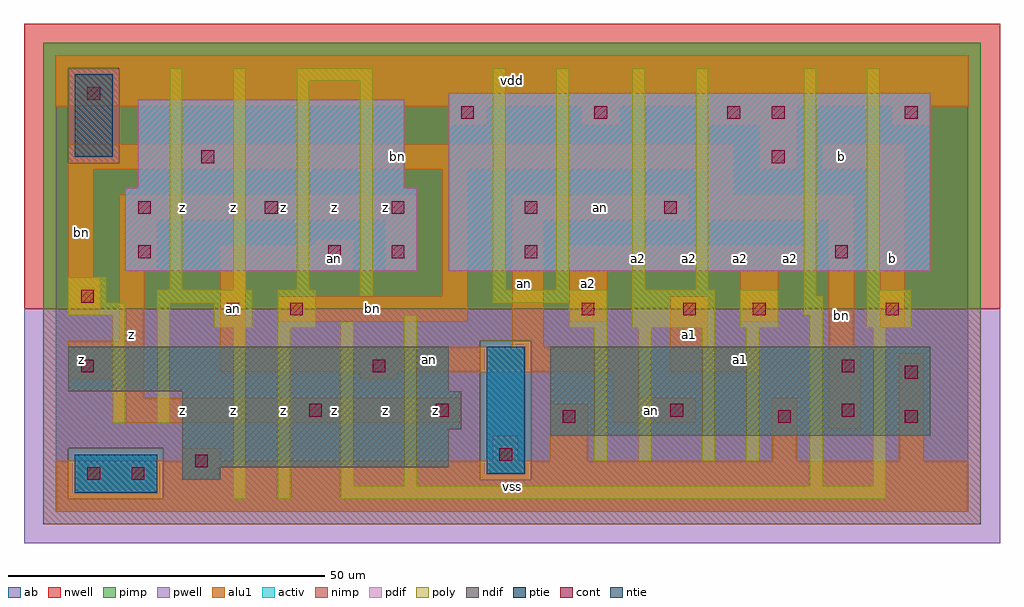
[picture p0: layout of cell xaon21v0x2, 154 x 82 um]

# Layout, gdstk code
import gdstk
lib = gdstk.Library(unit=1e-6, precision=1e-09)
def R(c, l, rs):  # rectangles x0, y0, x1, y1
    for r in rs: c.add(gdstk.rectangle(r[:2], r[2:], *l))
def A(c, l, x, y, w, h, nx, ny, dx, dy):  # array of equal rectangles
    R(c, l, [(x+i*dx, y+j*dy, x+i*dx+w, y+j*dy+h) for i in range(nx) for j in range(ny)])
ndif = (3, 0)
pdif = (4, 0)
ntie = (5, 0)
ptie = (6, 0)
cont = (25, 0)
pwell = (41, 0)
nwell = (42, 0)
activ = (43, 0)
pimp = (44, 0)
nimp = (45, 0)
poly = (46, 0)
alu1 = (49, 0)
ab = (63, 0)

xaon21v0x2 = lib.new_cell('xaon21v0x2')
R(xaon21v0x2, ndif, [(20,5,26,7), (20,7,62,13), (78,12,138,26), (20,13,64,19), (2,19,62,26)])
R(xaon21v0x2, pdif, [(11,38,57,51), (62,38,138,66), (13,51,55,65)])
R(xaon21v0x2, ntie, [(3,56,9,69)])
R(xaon21v0x2, ptie, [(3,3,16,9), (68,6,74,26)])
A(xaon21v0x2, cont, 13, 47, 2, 2, 3, 1, 20, 0)
A(xaon21v0x2, cont, 64, 62, 2, 2, 3, 1, 21, 0)
R(xaon21v0x2, cont, [(5,5,7,7), (12,5,14,7), (22,7,24,9), (70,8,72,10), (80,14,82,16), (114,14,116,16), (134,14,136,16), (40,15,42,17), (60,15,62,17), (97,15,99,17), (124,15,126,17), (134,21,136,23), (4,22,6,24), (50,22,52,24), (124,22,126,24), (27,31,29,33), (37,31,39,33), (83,31,85,33), (99,31,101,33), (110,31,112,33), (131,31,133,33), (4,33,6,35), (13,40,15,42), (43,40,45,42), (53,40,55,42), (74,40,76,42), (123,40,125,42), (74,47,76,49), (96,47,98,49), (23,55,25,57), (113,55,115,57), (113,62,115,64), (134,62,136,64), (5,65,7,67)])
R(xaon21v0x2, pwell, [(-5,-5,149,32)])
R(xaon21v0x2, nwell, [(-5,32,149,77)])
R(xaon21v0x2, activ, [(3,3,16,9), (20,5,26,7), (68,6,74,26), (20,7,62,13), (78,12,138,26), (20,13,64,19), (2,19,62,26), (11,38,57,51), (62,38,138,66), (13,51,55,65), (3,56,9,69)])
R(xaon21v0x2, pimp, [(2,2,17,10), (67,5,75,27), (-2,32,146,55), (-2,55,2,70), (10,55,146,70), (-2,70,146,74)])
R(xaon21v0x2, nimp, [(-2,-2,146,2), (-2,2,2,10), (17,2,146,5), (17,5,67,10), (75,5,146,27), (-2,10,67,27), (-2,27,146,32), (2,55,10,70)])
R(xaon21v0x2, poly, [(28,2,30,29), (35,2,37,29), (45,2,131,4), (45,4,47,30), (55,4,57,31), (119,4,121,31), (129,4,131,29), (85,8,87,29), (92,8,94,29), (102,8,104,29), (109,8,111,29), (9,14,11,31), (16,14,18,33), (25,29,31,33), (35,29,41,35), (81,29,87,33), (91,29,104,35), (108,29,114,35), (128,29,135,35), (2,31,11,33), (118,31,121,34), (2,33,8,37), (16,33,31,35), (69,33,87,35), (48,34,50,68), (118,34,120,70), (18,35,20,70), (28,35,30,70), (38,35,40,68), (69,35,71,70), (79,35,81,70), (91,35,93,70), (101,35,103,70), (128,35,130,70), (38,68,50,70)])
R(xaon21v0x2, alu1, [(0,0,144,8), (20,8,26,10), (69,8,73,12), (78,8,84,17), (113,8,117,18), (133,8,137,25), (122,13,127,26), (9,14,64,18), (88,14,101,18), (9,18,14,21), (88,18,92,22), (2,21,14,27), (48,21,54,22), (26,22,92,26), (97,22,111,26), (26,26,30,38), (72,26,77,46), (97,26,103,34), (122,26,126,46), (10,27,14,38), (130,29,134,54), (35,30,65,34), (81,30,87,38), (108,30,114,38), (2,31,7,37), (61,34,65,54), (2,37,6,54), (10,38,16,46), (26,38,47,42), (52,38,57,46), (81,38,119,42), (41,42,47,43), (10,46,57,50), (72,46,100,50), (103,46,126,50), (103,50,107,54), (2,54,107,58), (111,54,117,61), (121,54,134,58), (62,61,68,64), (83,61,89,64), (103,61,117,64), (132,61,138,64), (0,64,144,72)])
R(xaon21v0x2, ab, [(0,0,144,72)])
xaon21v0x2.add(gdstk.Label('an', (28,32), layer=49, texttype=0))
xaon21v0x2.add(gdstk.Label('bn', (4,44), layer=49, texttype=0))
xaon21v0x2.add(gdstk.Label('bn', (50,32), layer=49, texttype=0))
xaon21v0x2.add(gdstk.Label('an', (44,40), layer=49, texttype=0))
xaon21v0x2.add(gdstk.Label('an', (94,16), layer=49, texttype=0))
xaon21v0x2.add(gdstk.Label('an', (59,24), layer=49, texttype=0))
xaon21v0x2.add(gdstk.Label('an', (74,36), layer=49, texttype=0))
xaon21v0x2.add(gdstk.Label('an', (86,48), layer=49, texttype=0))
xaon21v0x2.add(gdstk.Label('bn', (124,31), layer=49, texttype=0))
xaon21v0x2.add(gdstk.Label('bn', (54,56), layer=49, texttype=0))
xaon21v0x2.add(gdstk.Label('z', (20,16), layer=49, texttype=0))
xaon21v0x2.add(gdstk.Label('z', (28,16), layer=49, texttype=0))
xaon21v0x2.add(gdstk.Label('z', (12,28), layer=49, texttype=0))
xaon21v0x2.add(gdstk.Label('z', (4,24), layer=49, texttype=0))
xaon21v0x2.add(gdstk.Label('z', (28,48), layer=49, texttype=0))
xaon21v0x2.add(gdstk.Label('z', (20,48), layer=49, texttype=0))
xaon21v0x2.add(gdstk.Label('z', (52,16), layer=49, texttype=0))
xaon21v0x2.add(gdstk.Label('z', (44,16), layer=49, texttype=0))
xaon21v0x2.add(gdstk.Label('z', (60,16), layer=49, texttype=0))
xaon21v0x2.add(gdstk.Label('z', (36,16), layer=49, texttype=0))
xaon21v0x2.add(gdstk.Label('z', (36,48), layer=49, texttype=0))
xaon21v0x2.add(gdstk.Label('z', (52,48), layer=49, texttype=0))
xaon21v0x2.add(gdstk.Label('z', (44,48), layer=49, texttype=0))
xaon21v0x2.add(gdstk.Label('vss', (72,4), layer=49, texttype=0))
xaon21v0x2.add(gdstk.Label('a1', (100,28), layer=49, texttype=0))
xaon21v0x2.add(gdstk.Label('a2', (84,36), layer=49, texttype=0))
xaon21v0x2.add(gdstk.Label('a2', (100,40), layer=49, texttype=0))
xaon21v0x2.add(gdstk.Label('a2', (92,40), layer=49, texttype=0))
xaon21v0x2.add(gdstk.Label('vdd', (72,68), layer=49, texttype=0))
xaon21v0x2.add(gdstk.Label('a1', (108,24), layer=49, texttype=0))
xaon21v0x2.add(gdstk.Label('a2', (116,40), layer=49, texttype=0))
xaon21v0x2.add(gdstk.Label('b', (132,40), layer=49, texttype=0))
xaon21v0x2.add(gdstk.Label('a2', (108,40), layer=49, texttype=0))
xaon21v0x2.add(gdstk.Label('b', (124,56), layer=49, texttype=0))

lib.write_gds('xaon21v0x2.gds')
